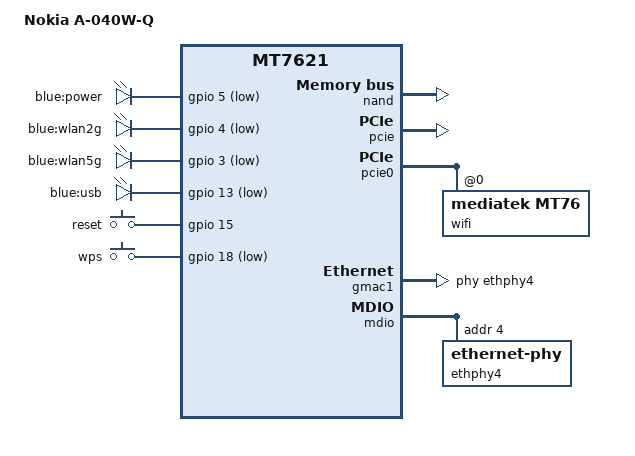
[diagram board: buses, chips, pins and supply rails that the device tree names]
#include "mt7621.dtsi"

#include <dt-bindings/gpio/gpio.h>
#include <dt-bindings/input/input.h>

/ {
	compatible = "nokia,a-040w-q", "mediatek,mt7621-soc";
	model = "Nokia A-040W-Q";

	aliases {
		led-boot = &led_power;
		led-failsafe = &led_power;
		led-running = &led_power;
		led-upgrade = &led_power;
	};

	chosen {
		bootargs = "console=ttyS0,115200";
	};

	leds {
		compatible = "gpio-leds";

		led_power: power {
			label = "blue:power";
			gpios = <&gpio 5 GPIO_ACTIVE_LOW>;
		};

		wlan2g {
			label = "blue:wlan2g";
			gpios = <&gpio 4 GPIO_ACTIVE_LOW>;
		};

		wlan5g {
			label = "blue:wlan5g";
			gpios = <&gpio 3 GPIO_ACTIVE_LOW>;
		};

		usb {
			label = "blue:usb";
			gpios = <&gpio 13 GPIO_ACTIVE_LOW>;
			trigger-sources = <&xhci_ehci_port1>, <&ehci_port2>;
			linux,default-trigger = "usbport";
		};
	};

	keys {
		compatible = "gpio-keys";

		reset {
			label = "reset";
			gpios = <&gpio 15 GPIO_ACTIVE_HIGH>;
			linux,code = <KEY_RESTART>;
		};

		wps {
			label = "wps";
			gpios = <&gpio 18 GPIO_ACTIVE_LOW>;
			linux,code = <KEY_WPS_BUTTON>;
		};

	};
};

&nand {
	status = "okay";

	partitions {
		compatible = "fixed-partitions";
		#address-cells = <1>;
		#size-cells = <1>;

		partition@0 {
			label = "u-boot";
			reg = <0x0 0x80000>;
			read-only;
		};

		partition@80000 {
			label = "u-boot-env";
			reg = <0x80000 0x40000>;
		};


		factory: partition@100000 {
			label = "factory";
			reg = <0x100000 0x40000>;
			read-only;
		};

		partition@140000 {
			label = "kernel";
			reg = <0x140000 0x400000>;
		};

		partition@540000 {
			label = "ubi";
			reg = <0x540000 0x7580000>;
		};
	};
};

&pcie {
	status = "okay";
};

&pcie0 {
	wifi@0,0 {
		compatible = "mediatek,mt76";
		reg = <0x0000 0 0 0 0>;
		mediatek,mtd-eeprom = <&factory 0x0>;

		led {
			led-sources = <3>;
			led-active-low;
		};
	};
};

&gmac1 {
	status = "okay";
	label = "wan";
	phy-handle = <&ethphy4>;
};

&mdio {
	ethphy4: ethernet-phy@4 {
		reg = <4>;
	};
};

&switch0 {
	ports {
		port@0 {
			status = "okay";
			label = "lan1";
		};

		port@1 {
			status = "okay";
			label = "lan2";
		};

		port@2 {
			status = "okay";
			label = "lan3";
		};

		port@3 {
			status = "okay";
			label = "lan4";
		};
	};
};

&state_default {
	gpio {
		groups = "i2c", "jtag", "uart2", "uart3", "wdt";
		function = "gpio";
	};
};
